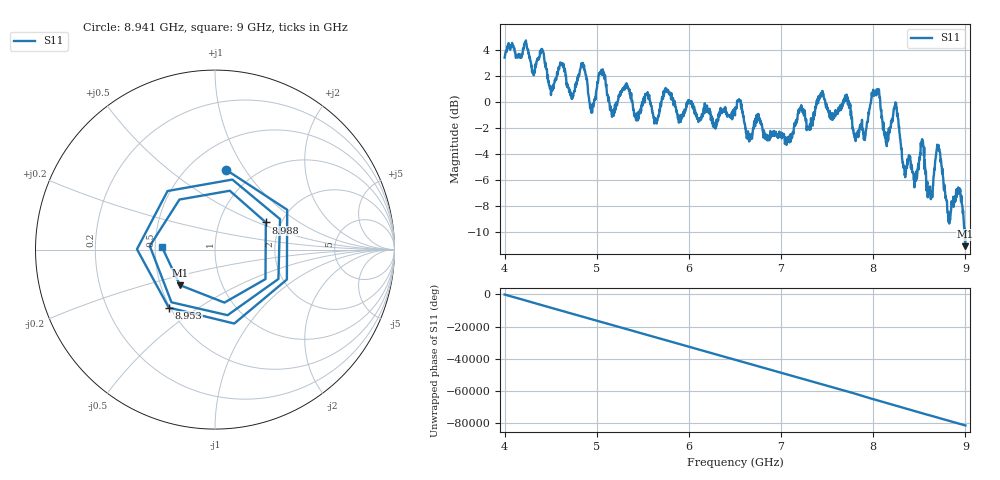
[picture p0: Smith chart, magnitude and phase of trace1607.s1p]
! Created with skrf 1.8.0 (http://scikit-rf.org).
# Hz S RI R 50.0
!freq ReS11 ImS11
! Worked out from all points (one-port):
!   1601 points, 4 GHz to 9 GHz, reference 50 ohm
!   lowest |S11| = -11.1 dB at 8.997 GHz (marker M1), VSWR 1.77, Z = 31.4 - j13.5 ohm
!   |S11| at or under -10 dB: 8.992073 GHz to end of sweep
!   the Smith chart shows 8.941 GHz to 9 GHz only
!   S11 on the Smith chart (normalised r, x): 8.941 GHz: 0.74, +0.82; 8.953 GHz: 0.49, -0.38; 8.988 GHz: 1.67, +0.56; 9 GHz: 0.54, +0.02
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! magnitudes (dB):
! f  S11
! 4 GHz  3.4
! 4.406 GHz  4.1
! 4.506 GHz  0.8
! 4.625 GHz  2.9
! 4.734 GHz  0.4
! 4.853 GHz  2.8
! 4.944 GHz  -0.5
! 5.047 GHz  2.3
! 5.25 GHz  0.4
! 5.875 GHz  -0.9
! 6.5 GHz  -1.1
! 7.125 GHz  -2.4
! 7.438 GHz  0.7
! 7.75 GHz  -0.3
! 7.906 GHz  -2.9
! 8.041 GHz  0.7
! 8.141 GHz  -2.9
! 8.247 GHz  -0.1
! 8.375 GHz  -4.8
! 8.534 GHz  -3.4
! 8.619 GHz  -7.2
! 8.703 GHz  -3.6
! 8.819 GHz  -9.3
! 8.941 GHz  -7.0
! 8.953 GHz  -7.7
! 8.988 GHz  -9.9
! 8.997 GHz  -11.1
! 9 GHz  -10.6
